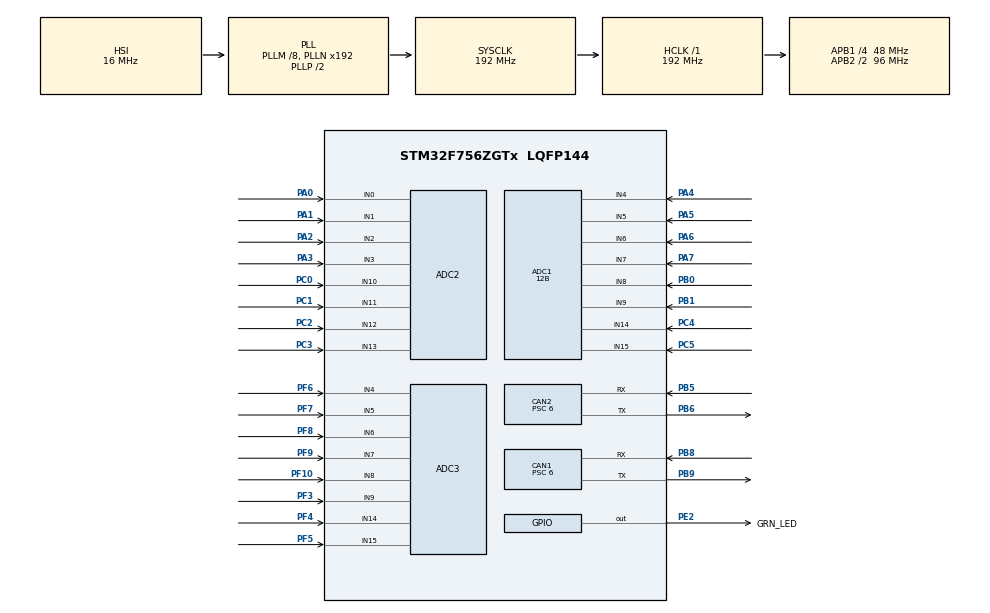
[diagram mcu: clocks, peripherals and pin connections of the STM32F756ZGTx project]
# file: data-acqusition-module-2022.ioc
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ADC1.Channel-1\#ChannelRegularConversion=ADC_CHANNEL_4
ADC1.Channel-2\#ChannelRegularConversion=ADC_CHANNEL_5
ADC1.Channel-3\#ChannelRegularConversion=ADC_CHANNEL_6
ADC1.Channel-4\#ChannelRegularConversion=ADC_CHANNEL_7
ADC1.Channel-5\#ChannelRegularConversion=ADC_CHANNEL_8
ADC1.Channel-6\#ChannelRegularConversion=ADC_CHANNEL_9
ADC1.Channel-7\#ChannelRegularConversion=ADC_CHANNEL_14
ADC1.Channel-8\#ChannelRegularConversion=ADC_CHANNEL_15
ADC1.ClockPrescaler=ADC_CLOCK_SYNC_PCLK_DIV4
ADC1.ContinuousConvMode=ENABLE
ADC1.DMAContinuousRequests=ENABLE
ADC1.EOCSelection=ADC_EOC_SEQ_CONV
ADC1.NbrOfConversion=8
ADC1.NbrOfConversionFlag=1
ADC1.Rank-1\#ChannelRegularConversion=1
ADC1.Rank-2\#ChannelRegularConversion=2
ADC1.Rank-3\#ChannelRegularConversion=3
ADC1.Rank-4\#ChannelRegularConversion=4
ADC1.Rank-5\#ChannelRegularConversion=5
ADC1.Rank-6\#ChannelRegularConversion=6
ADC1.Rank-7\#ChannelRegularConversion=7
ADC1.Rank-8\#ChannelRegularConversion=8
ADC1.Resolution=ADC_RESOLUTION_12B
ADC1.SamplingTime-1\#ChannelRegularConversion=ADC_SAMPLETIME_15CYCLES
ADC1.SamplingTime-2\#ChannelRegularConversion=ADC_SAMPLETIME_15CYCLES
ADC1.SamplingTime-3\#ChannelRegularConversion=ADC_SAMPLETIME_15CYCLES
ADC1.SamplingTime-4\#ChannelRegularConversion=ADC_SAMPLETIME_15CYCLES
ADC1.SamplingTime-5\#ChannelRegularConversion=ADC_SAMPLETIME_15CYCLES
ADC1.SamplingTime-6\#ChannelRegularConversion=ADC_SAMPLETIME_15CYCLES
ADC1.SamplingTime-7\#ChannelRegularConversion=ADC_SAMPLETIME_15CYCLES
ADC1.SamplingTime-8\#ChannelRegularConversion=ADC_SAMPLETIME_15CYCLES
ADC1.ScanConvMode=ADC_SCAN_ENABLE
ADC1.master=1
ADC2.Channel-10\#ChannelRegularConversion=ADC_CHANNEL_13
ADC2.Channel-3\#ChannelRegularConversion=ADC_CHANNEL_0
ADC2.Channel-4\#ChannelRegularConversion=ADC_CHANNEL_1
ADC2.Channel-5\#ChannelRegularConversion=ADC_CHANNEL_2
ADC2.Channel-6\#ChannelRegularConversion=ADC_CHANNEL_3
ADC2.Channel-7\#ChannelRegularConversion=ADC_CHANNEL_10
ADC2.Channel-8\#ChannelRegularConversion=ADC_CHANNEL_11
ADC2.Channel-9\#ChannelRegularConversion=ADC_CHANNEL_12
ADC2.DMAContinuousRequests=ENABLE
ADC2.EOCSelection=ADC_EOC_SEQ_CONV
ADC2.NbrOfConversion=8
ADC2.NbrOfConversionFlag=1
ADC2.Rank-10\#ChannelRegularConversion=8
ADC2.Rank-3\#ChannelRegularConversion=1
ADC2.Rank-4\#ChannelRegularConversion=2
ADC2.Rank-5\#ChannelRegularConversion=3
ADC2.Rank-6\#ChannelRegularConversion=4
ADC2.Rank-7\#ChannelRegularConversion=5
ADC2.Rank-8\#ChannelRegularConversion=6
ADC2.Rank-9\#ChannelRegularConversion=7
ADC2.SamplingTime-10\#ChannelRegularConversion=ADC_SAMPLETIME_15CYCLES
ADC2.SamplingTime-3\#ChannelRegularConversion=ADC_SAMPLETIME_15CYCLES
ADC2.SamplingTime-4\#ChannelRegularConversion=ADC_SAMPLETIME_15CYCLES
ADC2.SamplingTime-5\#ChannelRegularConversion=ADC_SAMPLETIME_15CYCLES
ADC2.SamplingTime-6\#ChannelRegularConversion=ADC_SAMPLETIME_15CYCLES
ADC2.SamplingTime-7\#ChannelRegularConversion=ADC_SAMPLETIME_15CYCLES
ADC2.SamplingTime-8\#ChannelRegularConversion=ADC_SAMPLETIME_15CYCLES
ADC2.SamplingTime-9\#ChannelRegularConversion=ADC_SAMPLETIME_15CYCLES
ADC2.ScanConvMode=ADC_SCAN_ENABLE
ADC3.Channel-1\#ChannelRegularConversion=ADC_CHANNEL_4
ADC3.Channel-2\#ChannelRegularConversion=ADC_CHANNEL_5
ADC3.Channel-3\#ChannelRegularConversion=ADC_CHANNEL_6
ADC3.Channel-4\#ChannelRegularConversion=ADC_CHANNEL_7
ADC3.Channel-5\#ChannelRegularConversion=ADC_CHANNEL_8
ADC3.Channel-6\#ChannelRegularConversion=ADC_CHANNEL_9
ADC3.Channel-7\#ChannelRegularConversion=ADC_CHANNEL_14
ADC3.Channel-8\#ChannelRegularConversion=ADC_CHANNEL_15
ADC3.DMAContinuousRequests=ENABLE
ADC3.EOCSelection=ADC_EOC_SEQ_CONV
ADC3.InjNumberOfConversion=0
ADC3.NbrOfConversion=8
ADC3.NbrOfConversionFlag=1
ADC3.Rank-1\#ChannelRegularConversion=1
ADC3.Rank-2\#ChannelRegularConversion=2
ADC3.Rank-3\#ChannelRegularConversion=3
ADC3.Rank-4\#ChannelRegularConversion=4
ADC3.Rank-5\#ChannelRegularConversion=5
ADC3.Rank-6\#ChannelRegularConversion=6
ADC3.Rank-7\#ChannelRegularConversion=7
ADC3.Rank-8\#ChannelRegularConversion=8
ADC3.SamplingTime-1\#ChannelRegularConversion=ADC_SAMPLETIME_15CYCLES
ADC3.SamplingTime-2\#ChannelRegularConversion=ADC_SAMPLETIME_15CYCLES
ADC3.SamplingTime-3\#ChannelRegularConversion=ADC_SAMPLETIME_15CYCLES
ADC3.SamplingTime-4\#ChannelRegularConversion=ADC_SAMPLETIME_15CYCLES
ADC3.SamplingTime-5\#ChannelRegularConversion=ADC_SAMPLETIME_15CYCLES
ADC3.SamplingTime-6\#ChannelRegularConversion=ADC_SAMPLETIME_15CYCLES
ADC3.SamplingTime-7\#ChannelRegularConversion=ADC_SAMPLETIME_15CYCLES
ADC3.SamplingTime-8\#ChannelRegularConversion=ADC_SAMPLETIME_15CYCLES
ADC3.ScanConvMode=ADC_SCAN_ENABLE
CAN1.ABOM=ENABLE
CAN1.AWUM=ENABLE
CAN1.BS1=CAN_BS1_6TQ
CAN1.CalculateBaudRate=1000000
CAN1.CalculateTimeBit=1000
CAN1.CalculateTimeQuantum=125.0
CAN1.Mode=CAN_MODE_NORMAL
CAN1.Prescaler=6
CAN2.ABOM=ENABLE
CAN2.AWUM=ENABLE
CAN2.BS1=CAN_BS1_6TQ
CAN2.CalculateBaudRate=1000000
CAN2.CalculateTimeBit=1000
CAN2.CalculateTimeQuantum=125.0
CAN2.Prescaler=6
Dma.ADC1.0.Direction=DMA_PERIPH_TO_MEMORY
Dma.ADC1.0.FIFOMode=DMA_FIFOMODE_DISABLE
Dma.ADC1.0.Instance=DMA2_Stream0
Dma.ADC1.0.MemDataAlignment=DMA_MDATAALIGN_HALFWORD
Dma.ADC1.0.MemInc=DMA_MINC_ENABLE
Dma.ADC1.0.Mode=DMA_CIRCULAR
Dma.ADC1.0.PeriphDataAlignment=DMA_PDATAALIGN_HALFWORD
Dma.ADC1.0.PeriphInc=DMA_PINC_DISABLE
Dma.ADC1.0.Priority=DMA_PRIORITY_LOW
Dma.ADC2.1.Direction=DMA_PERIPH_TO_MEMORY
Dma.ADC2.1.FIFOMode=DMA_FIFOMODE_DISABLE
Dma.ADC2.1.Instance=DMA2_Stream2
Dma.ADC2.1.MemDataAlignment=DMA_MDATAALIGN_HALFWORD
Dma.ADC2.1.MemInc=DMA_MINC_ENABLE
Dma.ADC2.1.Mode=DMA_CIRCULAR
Dma.ADC2.1.PeriphDataAlignment=DMA_PDATAALIGN_HALFWORD
Dma.ADC2.1.PeriphInc=DMA_PINC_DISABLE
Dma.ADC2.1.Priority=DMA_PRIORITY_LOW
Dma.ADC3.2.Direction=DMA_PERIPH_TO_MEMORY
Dma.ADC3.2.FIFOMode=DMA_FIFOMODE_DISABLE
Dma.ADC3.2.Instance=DMA2_Stream1
Dma.ADC3.2.MemDataAlignment=DMA_MDATAALIGN_HALFWORD
Dma.ADC3.2.MemInc=DMA_MINC_ENABLE
Dma.ADC3.2.Mode=DMA_CIRCULAR
Dma.ADC3.2.PeriphDataAlignment=DMA_PDATAALIGN_HALFWORD
Dma.ADC3.2.PeriphInc=DMA_PINC_DISABLE
Dma.ADC3.2.Priority=DMA_PRIORITY_LOW
Dma.Request0=ADC1
Dma.Request1=ADC2
Dma.Request2=ADC3
FREERTOS.Tasks01=gcan_rx_task,-2,512,gopherCAN_rx_buffer_service_task_entry,Default,NULL,Dynamic,NULL,NULL;gcan_tx_task,-2,512,gopherCAN_tx_service_task_ent,Default,NULL,Dynamic,NULL,NULL
FREERTOS.configENABLE_FPU=1
FREERTOS.configIDLE_SHOULD_YIELD=0
FREERTOS.configMINIMAL_STACK_SIZE=256
FREERTOS.configTOTAL_HEAP_SIZE=64000
Mcu.Family=STM32F7
Mcu.Name=STM32F756ZGTx
Mcu.Package=LQFP144
NVIC.CAN1_RX0_IRQn=true\:5\:0\:false\:false\:true\:true\:true\:true
NVIC.CAN1_RX1_IRQn=true\:5\:0\:false\:false\:true\:true\:true\:true
NVIC.CAN1_TX_IRQn=true\:5\:0\:false\:false\:true\:true\:true\:true
NVIC.CAN2_RX0_IRQn=true\:5\:0\:false\:false\:true\:true\:true\:true
NVIC.CAN2_RX1_IRQn=true\:5\:0\:false\:false\:true\:true\:true\:true
NVIC.CAN2_TX_IRQn=true\:5\:0\:false\:false\:true\:true\:true\:true
NVIC.DMA2_Stream0_IRQn=true\:5\:0\:false\:false\:true\:true\:false\:true
NVIC.DMA2_Stream1_IRQn=true\:5\:0\:false\:false\:true\:true\:false\:true
NVIC.DMA2_Stream2_IRQn=true\:5\:0\:false\:false\:true\:true\:false\:true
NVIC.PriorityGroup=NVIC_PRIORITYGROUP_4
NVIC.TIM1_UP_TIM10_IRQn=true\:5\:0\:false\:false\:true\:true\:true\:true
NVIC.TIM6_DAC_IRQn=true\:0\:0\:false\:false\:true\:false\:false\:true
NVIC.TimeBase=TIM6_DAC_IRQn
NVIC.TimeBaseIP=TIM6
PA0/WKUP.Signal=ADCx_IN0
PA1.Signal=ADCx_IN1
PA2.Signal=ADCx_IN2
PA3.Signal=ADCx_IN3
PA4.Signal=ADCx_IN4
PA5.Signal=ADCx_IN5
PA6.Signal=ADCx_IN6
PA7.Signal=ADCx_IN7
PB0.Signal=ADCx_IN8
PB1.Signal=ADCx_IN9
PB5.Mode=CAN_Activate
PB5.Signal=CAN2_RX
PB6.Mode=CAN_Activate
PB6.Signal=CAN2_TX
PB8.Mode=CAN_Activate
PB8.Signal=CAN1_RX
PB9.Mode=CAN_Activate
PB9.Signal=CAN1_TX
PC0.Signal=ADCx_IN10
PC1.Signal=ADCx_IN11
PC2.Signal=ADCx_IN12
PC3.Signal=ADCx_IN13
PC4.Signal=ADCx_IN14
PC5.Signal=ADCx_IN15
PE2.GPIO_Label=GRN_LED
PE2.Signal=GPIO_Output
PF10.Mode=IN8
PF10.Signal=ADC3_IN8
PF3.Mode=IN9
PF3.Signal=ADC3_IN9
PF4.Mode=IN14
PF4.Signal=ADC3_IN14
PF5.Mode=IN15
PF5.Signal=ADC3_IN15
PF6.Mode=IN4
PF6.Signal=ADC3_IN4
PF7.Mode=IN5
PF7.Signal=ADC3_IN5
PF8.Mode=IN6
PF8.Signal=ADC3_IN6
PF9.Mode=IN7
PF9.Signal=ADC3_IN7
ProjectManager.HeapSize=0x200
ProjectManager.StackSize=0x400
ProjectManager.TargetToolchain=STM32CubeIDE
RCC.AHBFreq_Value=192000000
RCC.APB1CLKDivider=RCC_HCLK_DIV4
RCC.APB1Freq_Value=48000000
RCC.APB1TimFreq_Value=96000000
RCC.APB2CLKDivider=RCC_HCLK_DIV2
RCC.APB2Freq_Value=96000000
RCC.APB2TimFreq_Value=192000000
RCC.CortexFreq_Value=192000000
RCC.HCLKFreq_Value=192000000
RCC.HSE_VALUE=25000000
RCC.HSI_VALUE=16000000
RCC.LSE_VALUE=32768
RCC.PLLM=8
RCC.SYSCLKFreq_VALUE=192000000
RCC.SYSCLKSource=RCC_SYSCLKSOURCE_PLLCLK
RCC.USBFreq_Value=192000000
RCC.VCOOutputFreq_Value=384000000
SH.ADCx_IN0.0=ADC2_IN0,IN0
SH.ADCx_IN1.0=ADC2_IN1,IN1
SH.ADCx_IN10.0=ADC2_IN10,IN10
SH.ADCx_IN11.0=ADC2_IN11,IN11
SH.ADCx_IN12.0=ADC2_IN12,IN12
SH.ADCx_IN13.0=ADC2_IN13,IN13
SH.ADCx_IN14.0=ADC1_IN14,IN14
SH.ADCx_IN15.0=ADC1_IN15,IN15
SH.ADCx_IN2.0=ADC2_IN2,IN2
SH.ADCx_IN3.0=ADC2_IN3,IN3
SH.ADCx_IN4.0=ADC1_IN4,IN4
SH.ADCx_IN5.0=ADC1_IN5,IN5
SH.ADCx_IN6.0=ADC1_IN6,IN6
SH.ADCx_IN7.0=ADC1_IN7,IN7
SH.ADCx_IN8.0=ADC1_IN8,IN8
SH.ADCx_IN9.0=ADC1_IN9,IN9
VP_FREERTOS_VS_CMSIS_V1.Mode=CMSIS_V1
VP_SYS_VS_tim6.Mode=TIM6
VP_TIM10_VS_ClockSourceINT.Mode=Enable_Timer
board=custom

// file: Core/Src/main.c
/* USER CODE BEGIN Header */
/**
  ******************************************************************************
  * @file           : main.c
  * @brief          : Main program body
  ******************************************************************************
  * @attention
  *
  * <h2><center>&copy; Copyright (c) 2021 STMicroelectronics.
  * All rights reserved.</center></h2>
  *
  * This software component is licensed by ST under BSD 3-Clause license,
  * the "License"; You may not use this file except in compliance with the
  * License. You may obtain a copy of the License at:
  *                        opensource.org/licenses/BSD-3-Clause
  *
  ******************************************************************************
  */
/* USER CODE END Header */
#include "main.h"
#include "cmsis_os.h"

/* USER CODE BEGIN Includes */
#include "DAM.h"
#include "GopherCAN.h"
#include "sensor_hal.h"
#include "stm32f7xx_hal.h"

/* USER CODE END Includes */

ADC_HandleTypeDef hadc1;
ADC_HandleTypeDef hadc2;
ADC_HandleTypeDef hadc3;
DMA_HandleTypeDef hdma_adc1;
DMA_HandleTypeDef hdma_adc2;
DMA_HandleTypeDef hdma_adc3;

CAN_HandleTypeDef hcan1;
CAN_HandleTypeDef hcan2;

TIM_HandleTypeDef htim10;

osThreadId gcan_rx_taskHandle;
osThreadId gcan_tx_taskHandle;
/* USER CODE BEGIN PV */
//IMPORTANT  to make sure task priorities are IDLE
/* USER CODE END PV */

void SystemClock_Config(void);
static void MX_GPIO_Init(void);
static void MX_CAN1_Init(void);
static void MX_ADC1_Init(void);
static void MX_ADC2_Init(void);
static void MX_ADC3_Init(void);
static void MX_CAN2_Init(void);
static void MX_TIM10_Init(void);
static void MX_DMA_Init(void);
void gopherCAN_rx_buffer_service_task_entry(void const * argument);
void gopherCAN_tx_service_task_ent(void const * argument);

int main(void)
{

  /* MCU Configuration--------------------------------------------------------*/

  /* Reset of all peripherals, Initializes the Flash interface and the Systick. */
  HAL_Init();

  /* Configure the system clock */
  SystemClock_Config();

  /* USER CODE BEGIN SysInit */
  //TIM6->DIER &= ~(TIM_IT_UPDATE);
  //TIM6->CR1  &= ~(TIM_CR1_CEN);
  MX_DMA_Init(); // this is needed because of an auto-gen bug
  /* USER CODE END SysInit */

  /* Initialize all configured peripherals */
  MX_GPIO_Init();
  MX_CAN1_Init();
  MX_ADC1_Init();
  MX_ADC2_Init();
  MX_ADC3_Init();
  MX_CAN2_Init();
  MX_TIM10_Init();
  MX_DMA_Init();
  /* USER CODE BEGIN 2 */

  // DEBUG
  HAL_GPIO_WritePin(GRN_LED_GPIO_Port, GRN_LED_Pin, GPIO_PIN_SET);

  if (init_can(&hcan1, DAM_FR_ID, BXTYPE_MASTER))
    {
        // an error starting CAN has occurred. blink code 1
  	  handle_DAM_error(INITIALIZATION_ERROR);
    }
    DAM_init(&hcan1, &hcan2, &hadc1, &hadc2, &hadc3,
  		   &htim10, GRN_LED_GPIO_Port, GRN_LED_Pin);

  /* USER CODE END 2 */

  /* Create the thread(s) */
  /* definition and creation of gcan_rx_task */
  osThreadDef(gcan_rx_task, gopherCAN_rx_buffer_service_task_entry, osPriorityLow, 0, 512);
  gcan_rx_taskHandle = osThreadCreate(osThread(gcan_rx_task), NULL);

  /* definition and creation of gcan_tx_task */
  osThreadDef(gcan_tx_task, gopherCAN_tx_service_task_ent, osPriorityLow, 0, 512);
  gcan_tx_taskHandle = osThreadCreate(osThread(gcan_tx_task), NULL);

  /* Start scheduler */
  osKernelStart();

  /* We should never get here as control is now taken by the scheduler */
  /* Infinite loop */
  while (1)
  {

  }
}

void SystemClock_Config(void)
{
  RCC_OscInitTypeDef RCC_OscInitStruct = {0};
  RCC_ClkInitTypeDef RCC_ClkInitStruct = {0};

  /** Configure the main internal regulator output voltage
  */
  __HAL_RCC_PWR_CLK_ENABLE();
  __HAL_PWR_VOLTAGESCALING_CONFIG(PWR_REGULATOR_VOLTAGE_SCALE1);
  /** Initializes the RCC Oscillators according to the specified parameters
  * in the RCC_OscInitTypeDef structure.
  */
  RCC_OscInitStruct.OscillatorType = RCC_OSCILLATORTYPE_HSI;
  RCC_OscInitStruct.HSIState = RCC_HSI_ON;
  RCC_OscInitStruct.HSICalibrationValue = RCC_HSICALIBRATION_DEFAULT;
  RCC_OscInitStruct.PLL.PLLState = RCC_PLL_ON;
  RCC_OscInitStruct.PLL.PLLSource = RCC_PLLSOURCE_HSI;
  RCC_OscInitStruct.PLL.PLLM = 8;
  RCC_OscInitStruct.PLL.PLLN = 192;
  RCC_OscInitStruct.PLL.PLLP = RCC_PLLP_DIV2;
  RCC_OscInitStruct.PLL.PLLQ = 2;
  if (HAL_RCC_OscConfig(&RCC_OscInitStruct) != HAL_OK)
  {
    Error_Handler();
  }
  /** Activate the Over-Drive mode
  */
  if (HAL_PWREx_EnableOverDrive() != HAL_OK)
  {
    Error_Handler();
  }
  /** Initializes the CPU, AHB and APB buses clocks
  */
  RCC_ClkInitStruct.ClockType = RCC_CLOCKTYPE_HCLK|RCC_CLOCKTYPE_SYSCLK
                              |RCC_CLOCKTYPE_PCLK1|RCC_CLOCKTYPE_PCLK2;
  RCC_ClkInitStruct.SYSCLKSource = RCC_SYSCLKSOURCE_PLLCLK;
  RCC_ClkInitStruct.AHBCLKDivider = RCC_SYSCLK_DIV1;
  RCC_ClkInitStruct.APB1CLKDivider = RCC_HCLK_DIV4;
  RCC_ClkInitStruct.APB2CLKDivider = RCC_HCLK_DIV2;

  if (HAL_RCC_ClockConfig(&RCC_ClkInitStruct, FLASH_LATENCY_6) != HAL_OK)
  {
    Error_Handler();
  }
}

static void MX_ADC1_Init(void)
{

  ADC_ChannelConfTypeDef sConfig = {0};

  /** Configure the global features of the ADC (Clock, Resolution, Data Alignment and number of conversion)
  */
  hadc1.Instance = ADC1;
  hadc1.Init.ClockPrescaler = ADC_CLOCK_SYNC_PCLK_DIV4;
  hadc1.Init.Resolution = ADC_RESOLUTION_12B;
  hadc1.Init.ScanConvMode = ADC_SCAN_ENABLE;
  hadc1.Init.ContinuousConvMode = ENABLE;
  hadc1.Init.DiscontinuousConvMode = DISABLE;
  hadc1.Init.ExternalTrigConvEdge = ADC_EXTERNALTRIGCONVEDGE_NONE;
  hadc1.Init.ExternalTrigConv = ADC_SOFTWARE_START;
  hadc1.Init.DataAlign = ADC_DATAALIGN_RIGHT;
  hadc1.Init.NbrOfConversion = 8;
  hadc1.Init.DMAContinuousRequests = ENABLE;
  hadc1.Init.EOCSelection = ADC_EOC_SEQ_CONV;
  if (HAL_ADC_Init(&hadc1) != HAL_OK)
  {
    Error_Handler();
  }
  /** Configure for the selected ADC regular channel its corresponding rank in the sequencer and its sample time.
  */
  sConfig.Channel = ADC_CHANNEL_4;
  sConfig.Rank = ADC_REGULAR_RANK_1;
  sConfig.SamplingTime = ADC_SAMPLETIME_15CYCLES;
  if (HAL_ADC_ConfigChannel(&hadc1, &sConfig) != HAL_OK)
  {
    Error_Handler();
  }
  /** Configure for the selected ADC regular channel its corresponding rank in the sequencer and its sample time.
  */
  sConfig.Channel = ADC_CHANNEL_5;
  sConfig.Rank = ADC_REGULAR_RANK_2;
  if (HAL_ADC_ConfigChannel(&hadc1, &sConfig) != HAL_OK)
  {
    Error_Handler();
  }
  /** Configure for the selected ADC regular channel its corresponding rank in the sequencer and its sample time.
  */
  sConfig.Channel = ADC_CHANNEL_6;
  sConfig.Rank = ADC_REGULAR_RANK_3;
  if (HAL_ADC_ConfigChannel(&hadc1, &sConfig) != HAL_OK)
  {
    Error_Handler();
  }
  /** Configure for the selected ADC regular channel its corresponding rank in the sequencer and its sample time.
  */
  sConfig.Channel = ADC_CHANNEL_7;
  sConfig.Rank = ADC_REGULAR_RANK_4;
  if (HAL_ADC_ConfigChannel(&hadc1, &sConfig) != HAL_OK)
  {
    Error_Handler();
  }
  /** Configure for the selected ADC regular channel its corresponding rank in the sequencer and its sample time.
  */
  sConfig.Channel = ADC_CHANNEL_8;
  sConfig.Rank = ADC_REGULAR_RANK_5;
  if (HAL_ADC_ConfigChannel(&hadc1, &sConfig) != HAL_OK)
  {
    Error_Handler();
  }
  /** Configure for the selected ADC regular channel its corresponding rank in the sequencer and its sample time.
  */
  sConfig.Channel = ADC_CHANNEL_9;
  sConfig.Rank = ADC_REGULAR_RANK_6;
  if (HAL_ADC_ConfigChannel(&hadc1, &sConfig) != HAL_OK)
  {
    Error_Handler();
  }
  /** Configure for the selected ADC regular channel its corresponding rank in the sequencer and its sample time.
  */
  sConfig.Channel = ADC_CHANNEL_14;
  sConfig.Rank = ADC_REGULAR_RANK_7;
  if (HAL_ADC_ConfigChannel(&hadc1, &sConfig) != HAL_OK)
  {
    Error_Handler();
  }
  /** Configure for the selected ADC regular channel its corresponding rank in the sequencer and its sample time.
  */
  sConfig.Channel = ADC_CHANNEL_15;
  sConfig.Rank = ADC_REGULAR_RANK_8;
  if (HAL_ADC_ConfigChannel(&hadc1, &sConfig) != HAL_OK)
  {
    Error_Handler();
  }

}

static void MX_ADC2_Init(void)
{

  ADC_ChannelConfTypeDef sConfig = {0};

  /** Configure the global features of the ADC (Clock, Resolution, Data Alignment and number of conversion)
  */
  hadc2.Instance = ADC2;
  hadc2.Init.ClockPrescaler = ADC_CLOCK_SYNC_PCLK_DIV4;
  hadc2.Init.Resolution = ADC_RESOLUTION_12B;
  hadc2.Init.ScanConvMode = ADC_SCAN_ENABLE;
  hadc2.Init.ContinuousConvMode = ENABLE;
  hadc2.Init.DiscontinuousConvMode = DISABLE;
  hadc2.Init.ExternalTrigConvEdge = ADC_EXTERNALTRIGCONVEDGE_NONE;
  hadc2.Init.ExternalTrigConv = ADC_SOFTWARE_START;
  hadc2.Init.DataAlign = ADC_DATAALIGN_RIGHT;
  hadc2.Init.NbrOfConversion = 8;
  hadc2.Init.DMAContinuousRequests = ENABLE;
  hadc2.Init.EOCSelection = ADC_EOC_SEQ_CONV;
  if (HAL_ADC_Init(&hadc2) != HAL_OK)
  {
    Error_Handler();
  }
  /** Configure for the selected ADC regular channel its corresponding rank in the sequencer and its sample time.
  */
  sConfig.Channel = ADC_CHANNEL_0;
  sConfig.Rank = ADC_REGULAR_RANK_1;
  sConfig.SamplingTime = ADC_SAMPLETIME_15CYCLES;
  if (HAL_ADC_ConfigChannel(&hadc2, &sConfig) != HAL_OK)
  {
    Error_Handler();
  }
  /** Configure for the selected ADC regular channel its corresponding rank in the sequencer and its sample time.
  */
  sConfig.Channel = ADC_CHANNEL_1;
  sConfig.Rank = ADC_REGULAR_RANK_2;
  if (HAL_ADC_ConfigChannel(&hadc2, &sConfig) != HAL_OK)
  {
    Error_Handler();
  }
  /** Configure for the selected ADC regular channel its corresponding rank in the sequencer and its sample time.
  */
  sConfig.Channel = ADC_CHANNEL_2;
  sConfig.Rank = ADC_REGULAR_RANK_3;
  if (HAL_ADC_ConfigChannel(&hadc2, &sConfig) != HAL_OK)
  {
    Error_Handler();
  }
  /** Configure for the selected ADC regular channel its corresponding rank in the sequencer and its sample time.
  */
  sConfig.Channel = ADC_CHANNEL_3;
  sConfig.Rank = ADC_REGULAR_RANK_4;
  if (HAL_ADC_ConfigChannel(&hadc2, &sConfig) != HAL_OK)
  {
    Error_Handler();
  }
  /** Configure for the selected ADC regular channel its corresponding rank in the sequencer and its sample time.
  */
  sConfig.Channel = ADC_CHANNEL_10;
  sConfig.Rank = ADC_REGULAR_RANK_5;
  if (HAL_ADC_ConfigChannel(&hadc2, &sConfig) != HAL_OK)
  {
    Error_Handler();
  }
  /** Configure for the selected ADC regular channel its corresponding rank in the sequencer and its sample time.
  */
  sConfig.Channel = ADC_CHANNEL_11;
  sConfig.Rank = ADC_REGULAR_RANK_6;
  if (HAL_ADC_ConfigChannel(&hadc2, &sConfig) != HAL_OK)
  {
    Error_Handler();
  }
  /** Configure for the selected ADC regular channel its corresponding rank in the sequencer and its sample time.
  */
  sConfig.Channel = ADC_CHANNEL_12;
  sConfig.Rank = ADC_REGULAR_RANK_7;
  if (HAL_ADC_ConfigChannel(&hadc2, &sConfig) != HAL_OK)
  {
    Error_Handler();
  }
  /** Configure for the selected ADC regular channel its corresponding rank in the sequencer and its sample time.
  */
  sConfig.Channel = ADC_CHANNEL_13;
  sConfig.Rank = ADC_REGULAR_RANK_8;
  if (HAL_ADC_ConfigChannel(&hadc2, &sConfig) != HAL_OK)
  {
    Error_Handler();
  }

}

static void MX_ADC3_Init(void)
{

  ADC_ChannelConfTypeDef sConfig = {0};

  /** Configure the global features of the ADC (Clock, Resolution, Data Alignment and number of conversion)
  */
  hadc3.Instance = ADC3;
  hadc3.Init.ClockPrescaler = ADC_CLOCK_SYNC_PCLK_DIV4;
  hadc3.Init.Resolution = ADC_RESOLUTION_12B;
  hadc3.Init.ScanConvMode = ADC_SCAN_ENABLE;
  hadc3.Init.ContinuousConvMode = ENABLE;
  hadc3.Init.DiscontinuousConvMode = DISABLE;
  hadc3.Init.ExternalTrigConvEdge = ADC_EXTERNALTRIGCONVEDGE_NONE;
  hadc3.Init.ExternalTrigConv = ADC_SOFTWARE_START;
  hadc3.Init.DataAlign = ADC_DATAALIGN_RIGHT;
  hadc3.Init.NbrOfConversion = 8;
  hadc3.Init.DMAContinuousRequests = ENABLE;
  hadc3.Init.EOCSelection = ADC_EOC_SEQ_CONV;
  if (HAL_ADC_Init(&hadc3) != HAL_OK)
  {
    Error_Handler();
  }
  /** Configure for the selected ADC regular channel its corresponding rank in the sequencer and its sample time.
  */
  sConfig.Channel = ADC_CHANNEL_4;
  sConfig.Rank = ADC_REGULAR_RANK_1;
  sConfig.SamplingTime = ADC_SAMPLETIME_15CYCLES;
  if (HAL_ADC_ConfigChannel(&hadc3, &sConfig) != HAL_OK)
  {
    Error_Handler();
  }
  /** Configure for the selected ADC regular channel its corresponding rank in the sequencer and its sample time.
  */
  sConfig.Channel = ADC_CHANNEL_5;
  sConfig.Rank = ADC_REGULAR_RANK_2;
  if (HAL_ADC_ConfigChannel(&hadc3, &sConfig) != HAL_OK)
  {
    Error_Handler();
  }
  /** Configure for the selected ADC regular channel its corresponding rank in the sequencer and its sample time.
  */
  sConfig.Channel = ADC_CHANNEL_6;
  sConfig.Rank = ADC_REGULAR_RANK_3;
  if (HAL_ADC_ConfigChannel(&hadc3, &sConfig) != HAL_OK)
  {
    Error_Handler();
  }
  /** Configure for the selected ADC regular channel its corresponding rank in the sequencer and its sample time.
  */
  sConfig.Channel = ADC_CHANNEL_7;
  sConfig.Rank = ADC_REGULAR_RANK_4;
  if (HAL_ADC_ConfigChannel(&hadc3, &sConfig) != HAL_OK)
  {
    Error_Handler();
  }
  /** Configure for the selected ADC regular channel its corresponding rank in the sequencer and its sample time.
  */
  sConfig.Channel = ADC_CHANNEL_8;
  sConfig.Rank = ADC_REGULAR_RANK_5;
  if (HAL_ADC_ConfigChannel(&hadc3, &sConfig) != HAL_OK)
  {
    Error_Handler();
  }
  /** Configure for the selected ADC regular channel its corresponding rank in the sequencer and its sample time.
  */
  sConfig.Channel = ADC_CHANNEL_9;
  sConfig.Rank = ADC_REGULAR_RANK_6;
  if (HAL_ADC_ConfigChannel(&hadc3, &sConfig) != HAL_OK)
  {
    Error_Handler();
  }
  /** Configure for the selected ADC regular channel its corresponding rank in the sequencer and its sample time.
  */
  sConfig.Channel = ADC_CHANNEL_14;
  sConfig.Rank = ADC_REGULAR_RANK_7;
  if (HAL_ADC_ConfigChannel(&hadc3, &sConfig) != HAL_OK)
  {
    Error_Handler();
  }
  /** Configure for the selected ADC regular channel its corresponding rank in the sequencer and its sample time.
  */
  sConfig.Channel = ADC_CHANNEL_15;
  sConfig.Rank = ADC_REGULAR_RANK_8;
  if (HAL_ADC_ConfigChannel(&hadc3, &sConfig) != HAL_OK)
  {
    Error_Handler();
  }

}

static void MX_CAN1_Init(void)
{

  hcan1.Instance = CAN1;
  hcan1.Init.Prescaler = 6;
  hcan1.Init.Mode = CAN_MODE_NORMAL;
  hcan1.Init.SyncJumpWidth = CAN_SJW_1TQ;
  hcan1.Init.TimeSeg1 = CAN_BS1_6TQ;
  hcan1.Init.TimeSeg2 = CAN_BS2_1TQ;
  hcan1.Init.TimeTriggeredMode = DISABLE;
  hcan1.Init.AutoBusOff = ENABLE;
  hcan1.Init.AutoWakeUp = ENABLE;
  hcan1.Init.AutoRetransmission = DISABLE;
  hcan1.Init.ReceiveFifoLocked = DISABLE;
  hcan1.Init.TransmitFifoPriority = DISABLE;
  if (HAL_CAN_Init(&hcan1) != HAL_OK)
  {
    Error_Handler();
  }

}

static void MX_CAN2_Init(void)
{

  hcan2.Instance = CAN2;
  hcan2.Init.Prescaler = 6;
  hcan2.Init.Mode = CAN_MODE_NORMAL;
  hcan2.Init.SyncJumpWidth = CAN_SJW_1TQ;
  hcan2.Init.TimeSeg1 = CAN_BS1_6TQ;
  hcan2.Init.TimeSeg2 = CAN_BS2_1TQ;
  hcan2.Init.TimeTriggeredMode = DISABLE;
  hcan2.Init.AutoBusOff = ENABLE;
  hcan2.Init.AutoWakeUp = ENABLE;
  hcan2.Init.AutoRetransmission = DISABLE;
  hcan2.Init.ReceiveFifoLocked = DISABLE;
  hcan2.Init.TransmitFifoPriority = DISABLE;
  if (HAL_CAN_Init(&hcan2) != HAL_OK)
  {
    Error_Handler();
  }

}

static void MX_TIM10_Init(void)
{

  htim10.Instance = TIM10;
  htim10.Init.Prescaler = 0;
  htim10.Init.CounterMode = TIM_COUNTERMODE_UP;
  htim10.Init.Period = 65535;
  htim10.Init.ClockDivision = TIM_CLOCKDIVISION_DIV1;
  htim10.Init.AutoReloadPreload = TIM_AUTORELOAD_PRELOAD_DISABLE;
  if (HAL_TIM_Base_Init(&htim10) != HAL_OK)
  {
    Error_Handler();
  }

}

static void MX_DMA_Init(void)
{

  /* DMA controller clock enable */
  __HAL_RCC_DMA2_CLK_ENABLE();

  /* DMA interrupt init */
  /* DMA2_Stream0_IRQn interrupt configuration */
  HAL_NVIC_SetPriority(DMA2_Stream0_IRQn, 5, 0);
  HAL_NVIC_EnableIRQ(DMA2_Stream0_IRQn);
  /* DMA2_Stream1_IRQn interrupt configuration */
  HAL_NVIC_SetPriority(DMA2_Stream1_IRQn, 5, 0);
  HAL_NVIC_EnableIRQ(DMA2_Stream1_IRQn);
  /* DMA2_Stream2_IRQn interrupt configuration */
  HAL_NVIC_SetPriority(DMA2_Stream2_IRQn, 5, 0);
  HAL_NVIC_EnableIRQ(DMA2_Stream2_IRQn);

}

static void MX_GPIO_Init(void)
{
  GPIO_InitTypeDef GPIO_InitStruct = {0};

  /* GPIO Ports Clock Enable */
  __HAL_RCC_GPIOE_CLK_ENABLE();
  __HAL_RCC_GPIOF_CLK_ENABLE();
  __HAL_RCC_GPIOC_CLK_ENABLE();
  __HAL_RCC_GPIOA_CLK_ENABLE();
  __HAL_RCC_GPIOB_CLK_ENABLE();

  /*Configure GPIO pin Output Level */
  HAL_GPIO_WritePin(GRN_LED_GPIO_Port, GRN_LED_Pin, GPIO_PIN_RESET);

  /*Configure GPIO pin : GRN_LED_Pin */
  GPIO_InitStruct.Pin = GRN_LED_Pin;
  GPIO_InitStruct.Mode = GPIO_MODE_OUTPUT_PP;
  GPIO_InitStruct.Pull = GPIO_NOPULL;
  GPIO_InitStruct.Speed = GPIO_SPEED_FREQ_LOW;
  HAL_GPIO_Init(GRN_LED_GPIO_Port, &GPIO_InitStruct);

}

void gopherCAN_rx_buffer_service_task_entry(void const * argument)
{
  /* USER CODE BEGIN 5 */
  /* Infinite loop */
  for(;;)
  {
	  gopherCAN_rx_buffer_service_task();
	  osDelay(1);
  }
  /* USER CODE END 5 */
}

void gopherCAN_tx_service_task_ent(void const * argument)
{
  /* USER CODE BEGIN gopherCAN_tx_service_task_ent */
  /* Infinite loop */
  for(;;)
  {
	  gopherCAN_tx_service_task();
    osDelay(1);
  }
  /* USER CODE END gopherCAN_tx_service_task_ent */
}

void HAL_TIM_PeriodElapsedCallback(TIM_HandleTypeDef *htim)
{
  if (htim->Instance == TIM6) {
    HAL_IncTick();
  }
  /* USER CODE BEGIN Callback 1 */
  else	{
	DAQ_TimerCallback(htim);
  }
  /* USER CODE END Callback 1 */
}

void Error_Handler(void)
{
  /* USER CODE BEGIN Error_Handler_Debug */
  /* User can add his own implementation to report the HAL error return state */
  //__disable_irq();
  handle_DAM_error(INITIALIZATION_ERROR);
  /* USER CODE END Error_Handler_Debug */
}
